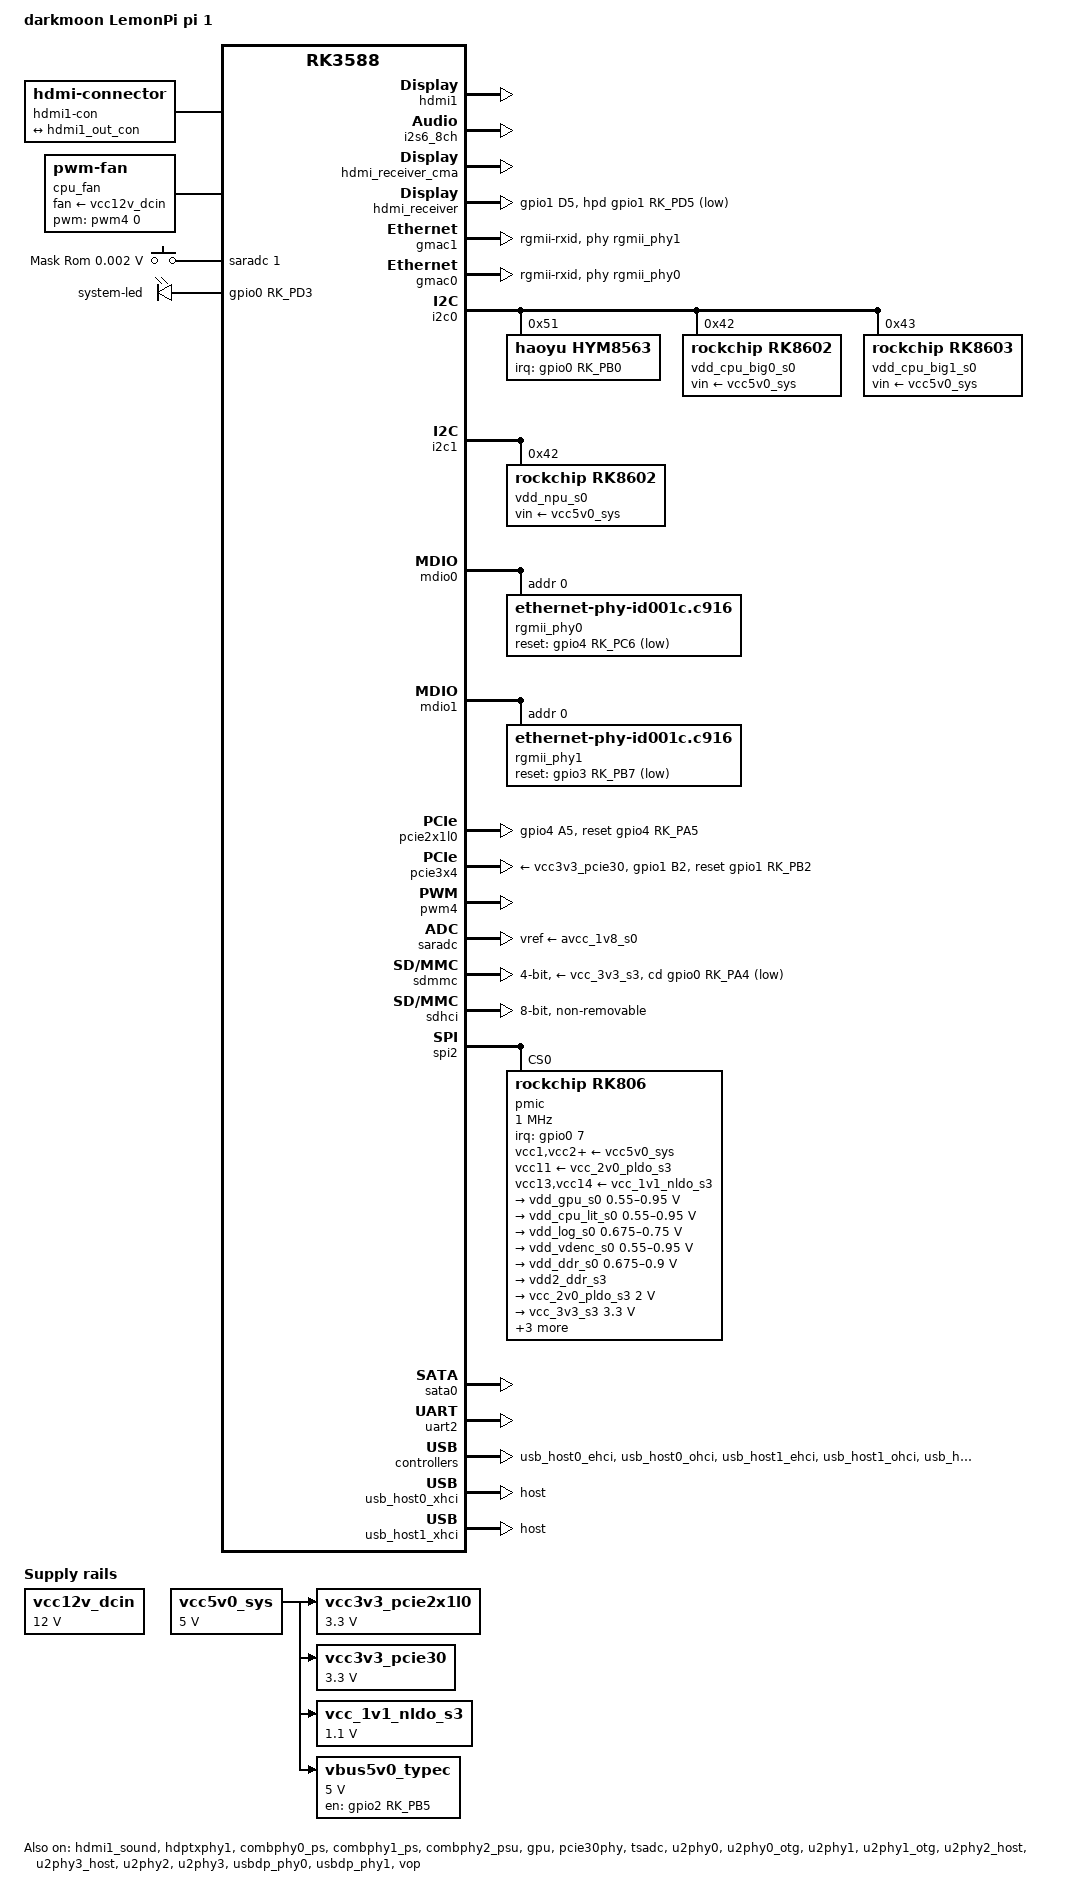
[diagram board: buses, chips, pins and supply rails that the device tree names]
// SPDX-License-Identifier: (GPL-2.0+ OR MIT)
/*
 * Copyright (c) 2021 Rockchip Electronics Co., Ltd.
 *
 */

/dts-v1/;

#include <dt-bindings/gpio/gpio.h>
#include <dt-bindings/input/input.h>
#include <dt-bindings/pinctrl/rockchip.h>
#include <dt-bindings/soc/rockchip,vop2.h>
#include <dt-bindings/usb/pd.h>
#include "rk3588.dtsi"
/ {
	model = "darkmoon LemonPi pi 1";
	compatible = "darkmoon,rk3588-lemonPi-1", "rockchip,rk3588";
	
	aliases {
		ethernet0 = &gmac0;
		ethernet1 = &gmac1;
		mmc0 = &sdhci;
	};

	chosen {
		stdout-path = "serial2:1500000n8";
	};
	hdmi1-con {
		compatible = "hdmi-connector";
		type = "a";

		port {
			hdmi1_con_in: endpoint {
				remote-endpoint = <&hdmi1_out_con>;
			};
		};
	};
	cpu_fan: cpu-fan {
		compatible = "pwm-fan";
		cooling-levels = <0 120 150 180 210 240 255>;
		fan-supply = <&vcc12v_dcin>;
		pwms = <&pwm4 0 50000 0>;
		#cooling-cells = <2>;
	};
	
	adc-keys {
		compatible = "adc-keys";
		io-channels = <&saradc 1>;
		io-channel-names = "buttons";
		keyup-threshold-microvolt = <1800000>;
		poll-interval = <100>;

		button-maskrom {
			label = "Mask Rom";
			linux,code = <KEY_SETUP>;
			press-threshold-microvolt = <2000>;
		};
	};
	
	leds {
		compatible = "gpio-leds";

		sys_led: led-0 {
			gpios = <&gpio0 RK_PD3 GPIO_ACTIVE_HIGH>;
			label = "system-led";
			linux,default-trigger = "heartbeat";
			pinctrl-names = "default";
			pinctrl-0 = <&sys_led_pin>;
		};
	};
	
	vcc12v_dcin: regulator-vcc12v-dcin {
		compatible = "regulator-fixed";
		regulator-name = "vcc12v_dcin";
		regulator-always-on;
		regulator-boot-on;
		regulator-min-microvolt = <12000000>;
		regulator-max-microvolt = <12000000>;
	};
	
	vcc3v3_pcie2x1l0: regulator-vcc3v3-pcie2x1l0 {
		compatible = "regulator-fixed";
		enable-active-high;
		regulator-name = "vcc3v3_pcie2x1l0";
		regulator-always-on;
		regulator-boot-on;
		regulator-min-microvolt = <3300000>;
		regulator-max-microvolt = <3300000>;
		startup-delay-us = <50000>;
		vin-supply = <&vcc5v0_sys>;
	};

	vcc3v3_pcie30: regulator-vcc3v3-pcie30 {
		compatible = "regulator-fixed";
		enable-active-high;
		regulator-always-on;
		regulator-boot-on;
		pinctrl-names = "default";
		regulator-name = "vcc3v3_pcie30";
		regulator-min-microvolt = <3300000>;
		regulator-max-microvolt = <3300000>;
		startup-delay-us = <5000>;
		vin-supply = <&vcc5v0_sys>;
	};
	
	vcc5v0_sys: regulator-vcc5v0-sys {
		compatible = "regulator-fixed";
		regulator-name = "vcc5v0_sys";
		regulator-always-on;
		regulator-boot-on;
		regulator-min-microvolt = <5000000>;
		regulator-max-microvolt = <5000000>;
	};

	vcc_1v1_nldo_s3: regulator-vcc-1v1-nldo-s3 {
		compatible = "regulator-fixed";
		regulator-name = "vcc_1v1_nldo_s3";
		regulator-always-on;
		regulator-boot-on;
		regulator-min-microvolt = <1100000>;
		regulator-max-microvolt = <1100000>;
		vin-supply = <&vcc5v0_sys>;
	};
	
	vbus5v0_typec: vbus5v0-typec-regulator {
		compatible = "regulator-fixed";
		enable-active-high;
		gpio = <&gpio2 RK_PB5 GPIO_ACTIVE_HIGH>;
		pinctrl-names = "default";
		pinctrl-0 = <&typec5v_pwren>;
		regulator-name = "vbus5v0_typec";
		regulator-min-microvolt = <5000000>;
		regulator-max-microvolt = <5000000>;
		vin-supply = <&vcc5v0_sys>;
	};
};

&hdmi1 {
	status = "okay";
	enable-gpios = <&gpio1 RK_PC6 GPIO_ACTIVE_HIGH>;
};

&hdmi1_in {
	hdmi1_in_vp1: endpoint {
		remote-endpoint = <&vp1_out_hdmi1>;
	};
};

&hdmi1_out {
	hdmi1_out_con: endpoint {
		remote-endpoint = <&hdmi1_con_in>;
	};
};

&hdmi1_sound {
	status = "okay";
};

&i2s6_8ch {
	status = "okay";
};

&hdmi_receiver_cma {
	status = "okay";
};

&hdmi_receiver {
	hpd-gpios = <&gpio1 RK_PD5 GPIO_ACTIVE_LOW>;
	pinctrl-0 = <&hdmim1_rx_cec &hdmim1_rx_hpdin &hdmim1_rx_scl &hdmim1_rx_sda &hdmirx_hpd>;
	pinctrl-names = "default";
	status = "okay";
};

&hdptxphy1 {
	status = "okay";
};

&combphy0_ps {
	status = "okay";
};

&combphy1_ps {
	status = "okay";
};

&combphy2_psu {
	status = "okay";
};

&cpu_b0 {
	cpu-supply = <&vdd_cpu_big0_s0>;
};

&cpu_b1 {
	cpu-supply = <&vdd_cpu_big0_s0>;
};

&cpu_b2 {
	cpu-supply = <&vdd_cpu_big1_s0>;
};

&cpu_b3 {
	cpu-supply = <&vdd_cpu_big1_s0>;
};

&cpu_l0 {
	cpu-supply = <&vdd_cpu_lit_s0>;
};

&cpu_l1 {
	cpu-supply = <&vdd_cpu_lit_s0>;
};

&cpu_l2 {
	cpu-supply = <&vdd_cpu_lit_s0>;
};

&cpu_l3 {
	cpu-supply = <&vdd_cpu_lit_s0>;
};

&gpu {
	mali-supply = <&vdd_gpu_s0>;
	status = "okay";
};

&gmac1 {
	clock_in_out = "output";
	phy-handle = <&rgmii_phy1>;
	phy-mode = "rgmii-rxid";
	pinctrl-0 = <&gmac1_miim
		     &gmac1_tx_bus2
		     &gmac1_rx_bus2
		     &gmac1_rgmii_clk
		     &gmac1_rgmii_bus>;
	pinctrl-names = "default";
	tx_delay = <0x20>;
	status = "okay";
};

&gmac0 {
	clock_in_out = "output";
	phy-handle = <&rgmii_phy0>;
	phy-mode = "rgmii-rxid";
	pinctrl-0 = <&gmac0_miim
		     &gmac0_tx_bus2
		     &gmac0_rx_bus2
		     &gmac0_rgmii_clk
		     &gmac0_rgmii_bus>;
	pinctrl-names = "default";
	tx_delay = <0x20>;
	status = "okay";
};



&i2c0 {
	pinctrl-names = "default";
	pinctrl-0 = <&i2c0m2_xfer>;
	status = "okay";

	hym8563: rtc@51 {
		compatible = "haoyu,hym8563";
		reg = <0x51>;
		#clock-cells = <0>;
		clock-output-names = "hym8563";
		pinctrl-names = "default";
		pinctrl-0 = <&hym8563_int>;
		interrupt-parent = <&gpio0>;
		interrupts = <RK_PB0 IRQ_TYPE_LEVEL_LOW>;
		wakeup-source;
	};
	
	vdd_cpu_big0_s0: regulator@42 {
		compatible = "rockchip,rk8602";
		reg = <0x42>;
		fcs,suspend-voltage-selector = <1>;
		regulator-name = "vdd_cpu_big0_s0";
		regulator-always-on;
		regulator-boot-on;
		regulator-min-microvolt = <550000>;
		regulator-max-microvolt = <1050000>;
		regulator-ramp-delay = <2300>;
		vin-supply = <&vcc5v0_sys>;

		regulator-state-mem {
			regulator-off-in-suspend;
		};
	};

	vdd_cpu_big1_s0: regulator@43 {
		compatible = "rockchip,rk8603", "rockchip,rk8602";
		reg = <0x43>;
		fcs,suspend-voltage-selector = <1>;
		regulator-name = "vdd_cpu_big1_s0";
		regulator-always-on;
		regulator-boot-on;
		regulator-min-microvolt = <550000>;
		regulator-max-microvolt = <1050000>;
		regulator-ramp-delay = <2300>;
		vin-supply = <&vcc5v0_sys>;

		regulator-state-mem {
			regulator-off-in-suspend;
		};
	};
};

&i2c1 {
	status = "okay";
	pinctrl-0 = <&i2c1m2_xfer>;
	
	vdd_npu_s0: regulator@42 {
		compatible = "rockchip,rk8602";
		reg = <0x42>;
		fcs,suspend-voltage-selector = <1>;
		regulator-name = "vdd_npu_s0";
		regulator-always-on;
		regulator-boot-on;
		regulator-min-microvolt = <550000>;
		regulator-max-microvolt = <950000>;
		regulator-ramp-delay = <2300>;
		vin-supply = <&vcc5v0_sys>;

		regulator-state-mem {
			regulator-off-in-suspend;
		};
	};
	/*
	usbc0: usb-typec@22 {
		compatible = "fcs,fusb302";
		reg = <0x22>;
		interrupt-parent = <&gpio0>;
		interrupts = <RK_PC4 IRQ_TYPE_LEVEL_LOW>;
		pinctrl-names = "default";
		pinctrl-0 = <&usbc0_int>;
		vbus-supply = <&vbus5v0_typec>;

		usb_con: connector {
			compatible = "usb-c-connector";
			data-role = "dual";
			label = "USB-C";
			power-role = "source";
			source-pdos =
				<PDO_FIXED(5000, 3000, PDO_FIXED_USB_COMM)>;

			ports {
				#address-cells = <1>;
				#size-cells = <0>;

				port@0 {
					reg = <0>;

					usbc0_orien_sw: endpoint {
						remote-endpoint = <&usbdp_phy0_orientation_switch>;
					};
				};

				port@1 {
					reg = <1>;

					usbc0_role_sw: endpoint {
						remote-endpoint = <&dwc3_0_role_switch>;
					};
				};

				port@2 {
					reg = <2>;

					dp_altmode_mux: endpoint {
						remote-endpoint = <&usbdp_phy0_dp_altmode_mux>;
					};
				};
			};
		};
	};*/
};

&i2c7 {
	status = "disabled";
	pinctrl-0 = <&i2c7m0_xfer>;
	/*
	es8388: audio-codec@11 {
		compatible = "everest,es8388";
		reg = <0x11>;
		clocks = <&cru I2S0_8CH_MCLKOUT>;
		assigned-clocks = <&cru I2S0_8CH_MCLKOUT>;
		assigned-clock-rates = <12288000>;
		AVDD-supply = <&avcc_1v8_codec_s0>;
		DVDD-supply = <&avcc_1v8_codec_s0>;
		HPVDD-supply = <&vcc_3v3_s0>;
		PVDD-supply = <&vcc_3v3_s0>;
		#sound-dai-cells = <0>;
	};
	*/
};

&i2s0_8ch {
	pinctrl-0 = <&i2s0_lrck
		     &i2s0_mclk
		     &i2s0_sclk
		     &i2s0_sdi0
		     &i2s0_sdo0>;
	status = "disabled";
};

&mdio0 {
	rgmii_phy0: ethernet-phy@0 {
		/* RTL8211F */
		compatible = "ethernet-phy-id001c.c916";
		reg = <0x0>;
		pinctrl-names = "default";
		pinctrl-0 = <&rtl8211f_rst0>;
		reset-assert-us = <20000>;
		reset-deassert-us = <100000>;
		reset-gpios = <&gpio4 RK_PC6 GPIO_ACTIVE_LOW>;
	};
};

&mdio1 {
	rgmii_phy1: ethernet-phy@0 {
		/* RTL8211F */
		compatible = "ethernet-phy-id001c.c916";
		reg = <0x0>;
		pinctrl-names = "default";
		pinctrl-0 = <&rtl8211f_rst1>;
		reset-assert-us = <20000>;
		reset-deassert-us = <100000>;
		reset-gpios = <&gpio3 RK_PB7 GPIO_ACTIVE_LOW>;
	};
};


&pd_gpu {
	domain-supply = <&vdd_gpu_s0>;
};
/*
&pd_npu {
	domain-supply = <&vdd_npu_s0>;
};

&rknn_core_0 {
	npu-supply = <&vdd_npu_s0>;
	sram-supply = <&vdd_npu_s0>;
	status = "okay";
};

&rknn_core_1 {
	npu-supply = <&vdd_npu_s0>;
	sram-supply = <&vdd_npu_s0>;
	status = "okay";
};

&rknn_core_2 {
	npu-supply = <&vdd_npu_s0>;
	sram-supply = <&vdd_npu_s0>;
	status = "okay";
};

&rknn_mmu_0 {
	status = "okay";
};

&rknn_mmu_1 {
	status = "okay";
};

&rknn_mmu_2 {
	status = "okay";
};
*/
&pcie2x1l0 {
	reset-gpios = <&gpio4 RK_PA5 GPIO_ACTIVE_HIGH>;
	//disable-gpios = <&gpio0 RK_PC6 GPIO_ACTIVE_HIGH>;
	//vpcie3v3-supply = <&vcc_3v3_pcie20>;
	pinctrl-names = "default";
	pinctrl-0 = <&pcie2_0_rst>;
	status = "okay";
};

&pcie2x1l2 {
	status = "disabled";
};

&pcie30phy {
	status = "okay";
};

&pcie3x4 {
	pinctrl-names = "default";
	pinctrl-0 = <&pcie3_reset>;
	reset-gpios = <&gpio1 RK_PB2 GPIO_ACTIVE_HIGH>;
	vpcie3v3-supply = <&vcc3v3_pcie30>;
	status = "okay";
};

&pinctrl {
	
	leds {
		sys_led_pin: sys-led-pin {
			rockchip,pins = <0 RK_PD3 RK_FUNC_GPIO &pcfg_pull_none>;
		};
	};

	rtl8211f {
		rtl8211f_rst0: rtl8211-rst0 {
			rockchip,pins = <4 RK_PC6 RK_FUNC_GPIO &pcfg_pull_none>;
		};
		rtl8211f_rst1: rtl8211-rst1 {
			rockchip,pins = <3 RK_PB7 RK_FUNC_GPIO &pcfg_pull_none>;
		};
	};
	
	hym8563 {
		hym8563_int: hym8563-int {
			rockchip,pins = <0 RK_PB0 RK_FUNC_GPIO &pcfg_pull_up>;
		};
	};

	pcie2 {
		pcie2_0_rst: pcie2-0-rst {
			rockchip,pins = <4 RK_PA5 RK_FUNC_GPIO &pcfg_pull_none>;
		};
	};

	pcie3 {
		pcie3_reset: pcie3-reset {
			rockchip,pins = <1 RK_PB2 RK_FUNC_GPIO &pcfg_pull_none>;
		};
	};

	usb-typec {
		typec5v_pwren: typec5v-pwren {
			rockchip,pins = <2 RK_PB5 RK_FUNC_GPIO &pcfg_pull_none>;
		};

		usbc0_int: usbc0-int {
			rockchip,pins = <0 RK_PC4 RK_FUNC_GPIO &pcfg_pull_up>;
		};
	};
	
	hdmirx {
		hdmirx_hpd: hdmirx-hpd {
			rockchip,pins = <1 RK_PD5 RK_FUNC_GPIO &pcfg_pull_up>;
		};
	};
};

&pwm4 {
	pinctrl-0 = <&pwm4m0_pins>;
	status = "okay";
};

&saradc {
	vref-supply = <&avcc_1v8_s0>;
	status = "okay";
};

&sdmmc {
	bus-width = <4>;
	cap-mmc-highspeed;
	cap-sd-highspeed;
	cd-gpios = <&gpio0 RK_PA4 GPIO_ACTIVE_LOW>;
	disable-wp;
	no-mmc;
	no-sdio;
	max-frequency = <150000000>;
	sd-uhs-sdr104;
	vmmc-supply = <&vcc_3v3_s3>;
	vqmmc-supply = <&vccio_sd_s0>;
	status = "okay";
};

&sdhci {
	bus-width = <8>;
	no-sdio;
	no-sd;
	non-removable;
	mmc-hs400-1_8v;
	mmc-hs400-enhanced-strobe;
	status = "okay";
};

&spi2 {
	status = "okay";
	assigned-clocks = <&cru CLK_SPI2>;
	assigned-clock-rates = <200000000>;
	pinctrl-names = "default";
	pinctrl-0 = <&spi2m2_cs0 &spi2m2_pins>;
	num-cs = <1>;

	pmic@0 {
		compatible = "rockchip,rk806";
		spi-max-frequency = <1000000>;
		reg = <0x0>;

		interrupt-parent = <&gpio0>;
		interrupts = <7 IRQ_TYPE_LEVEL_LOW>;

		pinctrl-names = "default";
		pinctrl-0 = <&pmic_pins>, <&rk806_dvs1_null>,
			    <&rk806_dvs2_null>, <&rk806_dvs3_null>;

		system-power-controller;

		vcc1-supply = <&vcc5v0_sys>;
		vcc2-supply = <&vcc5v0_sys>;
		vcc3-supply = <&vcc5v0_sys>;
		vcc4-supply = <&vcc5v0_sys>;
		vcc5-supply = <&vcc5v0_sys>;
		vcc6-supply = <&vcc5v0_sys>;
		vcc7-supply = <&vcc5v0_sys>;
		vcc8-supply = <&vcc5v0_sys>;
		vcc9-supply = <&vcc5v0_sys>;
		vcc10-supply = <&vcc5v0_sys>;
		vcc11-supply = <&vcc_2v0_pldo_s3>;
		vcc12-supply = <&vcc5v0_sys>;
		vcc13-supply = <&vcc_1v1_nldo_s3>;
		vcc14-supply = <&vcc_1v1_nldo_s3>;
		vcca-supply = <&vcc5v0_sys>;

		gpio-controller;
		#gpio-cells = <2>;

		rk806_dvs1_null: dvs1-null-pins {
			pins = "gpio_pwrctrl1";
			function = "pin_fun0";
		};

		rk806_dvs2_null: dvs2-null-pins {
			pins = "gpio_pwrctrl2";
			function = "pin_fun0";
		};

		rk806_dvs3_null: dvs3-null-pins {
			pins = "gpio_pwrctrl3";
			function = "pin_fun0";
		};

		regulators {
			vdd_gpu_s0: vdd_gpu_mem_s0: dcdc-reg1 {
				regulator-boot-on;
				regulator-min-microvolt = <550000>;
				regulator-max-microvolt = <950000>;
				regulator-ramp-delay = <12500>;
				regulator-name = "vdd_gpu_s0";
				regulator-enable-ramp-delay = <400>;

				regulator-state-mem {
					regulator-off-in-suspend;
				};
			};

			vdd_cpu_lit_s0: vdd_cpu_lit_mem_s0: dcdc-reg2 {
				regulator-always-on;
				regulator-boot-on;
				regulator-min-microvolt = <550000>;
				regulator-max-microvolt = <950000>;
				regulator-ramp-delay = <12500>;
				regulator-name = "vdd_cpu_lit_s0";

				regulator-state-mem {
					regulator-off-in-suspend;
				};
			};

			vdd_log_s0: dcdc-reg3 {
				regulator-always-on;
				regulator-boot-on;
				regulator-min-microvolt = <675000>;
				regulator-max-microvolt = <750000>;
				regulator-ramp-delay = <12500>;
				regulator-name = "vdd_log_s0";

				regulator-state-mem {
					regulator-off-in-suspend;
					regulator-suspend-microvolt = <750000>;
				};
			};

			vdd_vdenc_s0: vdd_vdenc_mem_s0: dcdc-reg4 {
				regulator-always-on;
				regulator-boot-on;
				regulator-min-microvolt = <550000>;
				regulator-max-microvolt = <950000>;
				regulator-ramp-delay = <12500>;
				regulator-name = "vdd_vdenc_s0";

				regulator-state-mem {
					regulator-off-in-suspend;
				};
			};

			vdd_ddr_s0: dcdc-reg5 {
				regulator-always-on;
				regulator-boot-on;
				regulator-min-microvolt = <675000>;
				regulator-max-microvolt = <900000>;
				regulator-ramp-delay = <12500>;
				regulator-name = "vdd_ddr_s0";

				regulator-state-mem {
					regulator-off-in-suspend;
					regulator-suspend-microvolt = <850000>;
				};
			};

			vdd2_ddr_s3: dcdc-reg6 {
				regulator-always-on;
				regulator-boot-on;
				regulator-name = "vdd2_ddr_s3";

				regulator-state-mem {
					regulator-on-in-suspend;
				};
			};

			vcc_2v0_pldo_s3: dcdc-reg7 {
				regulator-always-on;
				regulator-boot-on;
				regulator-min-microvolt = <2000000>;
				regulator-max-microvolt = <2000000>;
				regulator-ramp-delay = <12500>;
				regulator-name = "vdd_2v0_pldo_s3";

				regulator-state-mem {
					regulator-on-in-suspend;
					regulator-suspend-microvolt = <2000000>;
				};
			};

			vcc_3v3_s3: dcdc-reg8 {
				regulator-always-on;
				regulator-boot-on;
				regulator-min-microvolt = <3300000>;
				regulator-max-microvolt = <3300000>;
				regulator-name = "vcc_3v3_s3";

				regulator-state-mem {
					regulator-on-in-suspend;
					regulator-suspend-microvolt = <3300000>;
				};
			};

			vddq_ddr_s0: dcdc-reg9 {
				regulator-always-on;
				regulator-boot-on;
				regulator-name = "vddq_ddr_s0";

				regulator-state-mem {
					regulator-off-in-suspend;
				};
			};

			vcc_1v8_s3: dcdc-reg10 {
				regulator-always-on;
				regulator-boot-on;
				regulator-min-microvolt = <1800000>;
				regulator-max-microvolt = <1800000>;
				regulator-name = "vcc_1v8_s3";

				regulator-state-mem {
					regulator-on-in-suspend;
					regulator-suspend-microvolt = <1800000>;
				};
			};

			avcc_1v8_s0: pldo-reg1 {
				regulator-always-on;
				regulator-boot-on;
				regulator-min-microvolt = <1800000>;
				regulator-max-microvolt = <1800000>;
				regulator-name = "avcc_1v8_s0";

				regulator-state-mem {
					regulator-off-in-suspend;
				};
			};

			vcc_1v8_s0: pldo-reg2 {
				regulator-always-on;
				regulator-boot-on;
				regulator-min-microvolt = <1800000>;
				regulator-max-microvolt = <1800000>;
				regulator-name = "vcc_1v8_s0";

				regulator-state-mem {
					regulator-off-in-suspend;
					regulator-suspend-microvolt = <1800000>;
				};
			};

			avdd_1v2_s0: pldo-reg3 {
				regulator-always-on;
				regulator-boot-on;
				regulator-min-microvolt = <1200000>;
				regulator-max-microvolt = <1200000>;
				regulator-name = "avdd_1v2_s0";

				regulator-state-mem {
					regulator-off-in-suspend;
				};
			};

			vcc_3v3_s0: pldo-reg4 {
				regulator-always-on;
				regulator-boot-on;
				regulator-min-microvolt = <3300000>;
				regulator-max-microvolt = <3300000>;
				regulator-ramp-delay = <12500>;
				regulator-name = "vcc_3v3_s0";

				regulator-state-mem {
					regulator-off-in-suspend;
				};
			};

			vccio_sd_s0: pldo-reg5 {
				regulator-always-on;
				regulator-boot-on;
				regulator-min-microvolt = <1800000>;
				regulator-max-microvolt = <3300000>;
				regulator-ramp-delay = <12500>;
				regulator-name = "vccio_sd_s0";

				regulator-state-mem {
					regulator-off-in-suspend;
				};
			};

			pldo6_s3: pldo-reg6 {
				regulator-always-on;
				regulator-boot-on;
				regulator-min-microvolt = <1800000>;
				regulator-max-microvolt = <1800000>;
				regulator-name = "pldo6_s3";

				regulator-state-mem {
					regulator-on-in-suspend;
					regulator-suspend-microvolt = <1800000>;
				};
			};

			vdd_0v75_s3: nldo-reg1 {
				regulator-always-on;
				regulator-boot-on;
				regulator-min-microvolt = <750000>;
				regulator-max-microvolt = <750000>;
				regulator-name = "vdd_0v75_s3";

				regulator-state-mem {
					regulator-on-in-suspend;
					regulator-suspend-microvolt = <750000>;
				};
			};

			vdd_ddr_pll_s0: nldo-reg2 {
				regulator-always-on;
				regulator-boot-on;
				regulator-min-microvolt = <850000>;
				regulator-max-microvolt = <850000>;
				regulator-name = "vdd_ddr_pll_s0";

				regulator-state-mem {
					regulator-off-in-suspend;
					regulator-suspend-microvolt = <850000>;
				};
			};
			avdd_0v75_s0: nldo-reg3 {
				regulator-name = "avdd_0v75_s0";
				regulator-always-on;
				regulator-boot-on;
				/*
				 * The schematic mentions that actual setting
				 * should be 0.8375V. RK3588 datasheet specifies
				 * maximum as 0.825V. So we set datasheet max
				 * here.
				 */
				regulator-min-microvolt = <800000>;
				regulator-max-microvolt = <800000>;

				regulator-state-mem {
					regulator-off-in-suspend;
				};
			};
			
			vdd_0v85_s0: nldo-reg4 {
				regulator-always-on;
				regulator-boot-on;
				regulator-min-microvolt = <850000>;
				regulator-max-microvolt = <850000>;
				regulator-name = "vdd_0v85_s0";

				regulator-state-mem {
					regulator-off-in-suspend;
				};
			};

			vdd_0v75_s0: nldo-reg5 {
				regulator-always-on;
				regulator-boot-on;
				regulator-min-microvolt = <750000>;
				regulator-max-microvolt = <750000>;
				regulator-name = "vdd_0v75_s0";

				regulator-state-mem {
					regulator-off-in-suspend;
				};
			};
		};
	};
};

&sata0 {
	status = "okay";
};

&tsadc {
	status = "okay";
};

&uart2 {
	pinctrl-0 = <&uart2m0_xfer>;
	status = "okay";
};

&u2phy0 {
	status = "okay";
};

&u2phy0_otg {
	status = "okay";
	rockchip,typec-vbus-det;
};

&u2phy1 {
	status = "okay";
};

&u2phy1_otg {
	status = "okay";
};

&u2phy2_host {
	status = "okay";
	phy-supply = <&vbus5v0_typec>;
};

&u2phy3_host {
	status = "okay";
};

&u2phy2 {
	status = "okay";
};

&u2phy3 {
	status = "okay";
};

&usbdp_phy0 {
	status = "okay";
	/*
	mode-switch;
	orientation-switch;
	sbu1-dc-gpios = <&gpio1 RK_PA0 GPIO_ACTIVE_HIGH>;
	sbu2-dc-gpios = <&gpio1 RK_PA1 GPIO_ACTIVE_HIGH>;
	
	port {
		#address-cells = <1>;
		#size-cells = <0>;
		usbdp_phy0_orientation_switch: endpoint@0 {
			reg = <0>;
			remote-endpoint = <&usbc0_orien_sw>;
		};

		usbdp_phy0_dp_altmode_mux: endpoint@1 {
			reg = <1>;
			remote-endpoint = <&dp_altmode_mux>;
		};
	};
	*/
};

&usbdp_phy1 {
	phy-supply = <&vcc5v0_sys>;
	status = "okay";
};

&usb_host0_ehci {
	status = "okay";
};

&usb_host0_ohci {
	status = "okay";
};

&usb_host0_xhci {
	//usb-role-switch;
	status = "okay";
	dr_mode = "host";
	/*
	port {
		#address-cells = <1>;
		#size-cells = <0>;

		dwc3_0_role_switch: endpoint@0 {
			reg = <0>;
			remote-endpoint = <&usbc0_role_sw>;
		};
	};*/
};

&usb_host1_xhci {
	dr_mode = "host";
	status = "okay";
};

&usb_host1_ehci {
	status = "okay";
};

&usb_host1_ohci {
	status = "okay";
};

&usb_host2_xhci {
	status = "okay";
};

&package_thermal {
	polling-delay = <1000>;

	trips {
		package_fan0: package-fan0 {
			hysteresis = <2000>;
			temperature = <450000>;
			type = "active";
		};

		package_fan1: package-fan1 {
			hysteresis = <2000>;
			temperature = <60000>;
			type = "active";
		};
	};

	cooling-maps {
		map0 {
			cooling-device = <&cpu_fan THERMAL_NO_LIMIT 1>;
			trip = <&package_fan0>;
		};
		map1 {
			cooling-device = <&cpu_fan 2 THERMAL_NO_LIMIT>;
			trip = <&package_fan1>;
		};
	};
};

&vop_mmu {
	status = "okay";
};

&vop {
	status = "okay";
};

&vp1 {
	vp1_out_hdmi1: endpoint@ROCKCHIP_VOP2_EP_HDMI1 {
		reg = <ROCKCHIP_VOP2_EP_HDMI1>;
		remote-endpoint = <&hdmi1_in_vp1>;
	};
};

